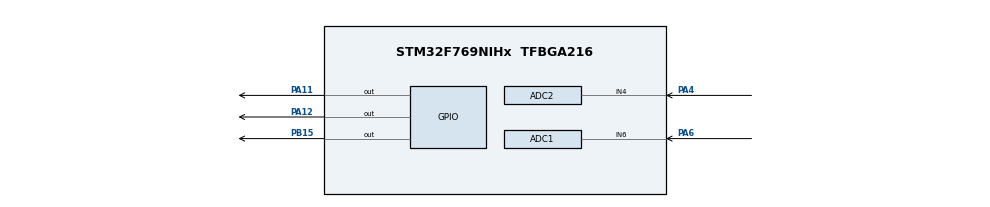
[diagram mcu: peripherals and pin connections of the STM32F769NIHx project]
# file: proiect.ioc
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ADC1.Channel-0\#ChannelRegularConversion=ADC_CHANNEL_6
ADC1.NbrOfConversionFlag=1
ADC1.Rank-0\#ChannelRegularConversion=1
ADC1.SamplingTime-0\#ChannelRegularConversion=ADC_SAMPLETIME_3CYCLES
ADC1.master=1
ADC2.Channel-0\#ChannelRegularConversion=ADC_CHANNEL_4
ADC2.NbrOfConversionFlag=1
ADC2.Rank-0\#ChannelRegularConversion=1
ADC2.SamplingTime-0\#ChannelRegularConversion=ADC_SAMPLETIME_3CYCLES
Mcu.Family=STM32F7
Mcu.Name=STM32F769NIHx
Mcu.Package=TFBGA216
NVIC.ADC_IRQn=true\:0\:0\:false\:false\:true\:true\:true
NVIC.PriorityGroup=NVIC_PRIORITYGROUP_4
PA11.Signal=GPIO_Output
PA12.Signal=GPIO_Output
PA4.GPIO_PuPd=GPIO_NOPULL
PA4.Signal=ADCx_IN4
PA6.GPIO_Mode=GPIO_MODE_ANALOG
PA6.Signal=SharedAnalog_PA6
PB15.Signal=GPIO_Output
ProjectManager.HeapSize=0x200
ProjectManager.StackSize=0x400
ProjectManager.TargetToolchain=STM32CubeIDE
RCC.HSE_VALUE=25000000
RCC.HSI_VALUE=16000000
RCC.LSE_VALUE=32768
RCC.USBFreq_Value=96000000
RCC.VCOOutputFreq_Value=192000000
SH.ADCx_IN4.0=ADC2_IN4,IN4
SH.SharedAnalog_PA6.0=GPIO_Analog
SH.SharedAnalog_PA6.1=ADC1_IN6,IN6
board=custom

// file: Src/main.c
/* USER CODE BEGIN Header */
/**
  ******************************************************************************
  * @file           : main.c
  * @brief          : Main program body
  ******************************************************************************
  * @attention
  *
  * <h2><center>&copy; Copyright (c) 2019 STMicroelectronics.
  * All rights reserved.</center></h2>
  *
  * This software component is licensed by ST under BSD 3-Clause license,
  * the "License"; You may not use this file except in compliance with the
  * License. You may obtain a copy of the License at:
  *                        opensource.org/licenses/BSD-3-Clause
  *
  ******************************************************************************
  */
/* USER CODE END Header */

#include "main.h"

ADC_HandleTypeDef hadc1;
ADC_HandleTypeDef hadc2;

int matrix[8][8] = {{0,0,0,0,0,0,0,0},
		{0,0,0,0,0,0,0,0},
		{0,0,0,0,0,0,0,0},
		{0,0,0,0,0,0,0,0},
		{0,0,0,0,0,0,0,0},
		{0,0,0,0,0,0,0,0},
		{0,0,0,0,0,0,0,0},
		{0,0,0,0,0,0,0,0}};
int point[8] = {0x0000000000000001, 0x0000000000000002,
0x0000000000000004, 0x0000000000000008, 0x0000000000000010,
0x0000000000000020, 0x0000000000000040, 0x0000000000000080};
typedef struct BallPosition{
	int i;
	int j;
}position;

void SystemClock_Config(void);
static void MX_GPIO_Init(void);
static void MX_ADC1_Init(void);
static void MX_ADC2_Init(void);

void write_byte(uint8_t byte)
{
	    for(int i=0;i<8;i++)
          {
	    	 HAL_GPIO_WritePin(GPIOA, GPIO_PIN_12, 0);  // Pull the CLK LOW
	    	 HAL_GPIO_WritePin(GPIOB, GPIO_PIN_15, byte&0x80);// Write one BIT data MSB first
             byte = byte<<1;  // shift the data to the left
             HAL_GPIO_WritePin(GPIOA, GPIO_PIN_12, 1);  // Pull the CLK HIGH
           }
}

void write_max (uint8_t address, uint8_t data)
{
	HAL_GPIO_WritePin(GPIOA, GPIO_PIN_11, 0);   // Pull the CS pin LOW
    write_byte(address);   //  write address
    write_byte(data);  //  write data
    HAL_GPIO_WritePin(GPIOA, GPIO_PIN_11, 1);  // pull the CS HIGH
}

void clearMatrix ()
{
  	for(int i=2;i<8;i++)
  	 {
  	   write_max (i,0x00);
  	 }
}

void max_init(void)
{
 write_max(0x09, 0x00);       //  no decoding
 write_max(0x0a, 0x03);       //  brightness intensity
 write_max(0x0b, 0x07);       //  scan limit = 8 LEDs
 write_max(0x0c, 0x01);       //  power down =0，normal mode = 1
 write_max(0x0f, 0x00);       //  no test display
}

void init_matrix(){
	for(int i=0;i<8;i++){
		for(int j=0;j<8;j++){
			matrix[i][j] = 0;
		}
	}
}

void set_one_on_matrix(int line, int a, int b, int c){
	matrix[line][a]=1;
	matrix[line][b]=1;
	matrix[line][c]=1;
}

void player_bar(uint8_t g_ADCValue, uint8_t prev_value){
	  if(prev_value - g_ADCValue > 10){
		  if(g_ADCValue <= 800 ){
			  clearMatrix();
			  write_max (1,0x0000000000000007);
		  } else if(g_ADCValue > 800 && g_ADCValue <= 1500){
			  clearMatrix();
			  write_max (1,0x000000000000000e);
	      } else if(g_ADCValue > 1500 && g_ADCValue <= 2300){
	    	  clearMatrix();
	    	  write_max (1,0x000000000000001c);
	      } else if(g_ADCValue > 2300 && g_ADCValue <= 3000){
			  clearMatrix();
			  write_max (1,0x0000000000000038);
	      } else if(g_ADCValue > 3000  && g_ADCValue <= 3600){
	    	  clearMatrix();
	    	  write_max (1,0x0000000000000070);
	      } else if(g_ADCValue > 3600) {
	    	  clearMatrix();
	    	  write_max (1,0x00000000000000e0);
	      }
	  } else {
		  if(g_ADCValue <= 800 ){
			  clearMatrix();
			  write_max (1,0x0000000000000007);
		  } else if(g_ADCValue > 800 && g_ADCValue <= 1500){
			  clearMatrix();
			  write_max (1,0x000000000000000e);
	      } else if(g_ADCValue > 1500 && g_ADCValue <= 2300){
	    	  clearMatrix();
	    	  write_max (1,0x000000000000001c);
	      } else if(g_ADCValue > 2300 && g_ADCValue <= 3000){
			  clearMatrix();
			  write_max (1,0x0000000000000038);
	      } else if(g_ADCValue > 3000  && g_ADCValue <= 3600){
	    	  clearMatrix();
	    	  write_max (1,0x0000000000000070);
	      } else if(g_ADCValue > 3600) {
	    	  clearMatrix();
	    	  write_max (1,0x00000000000000e0);
	      }
	  }
}
int main(void)
{

  /* MCU Configuration--------------------------------------------------------*/

  /* Reset of all peripherals, Initializes the Flash interface and the Systick. */
  HAL_Init();

  /* Configure the system clock */
  SystemClock_Config();

  /* Initialize all configured peripherals */
  MX_GPIO_Init();
  MX_ADC1_Init();
  MX_ADC2_Init();

  /* Infinite loop */
  /* USER CODE BEGIN WHILE */
  max_init();
/*  clearMatrix();
  write_max (1,0x0000000000000007);
  write_max (1,0x000000000000000e);
  write_max (1,0x000000000000001c);
  write_max (1,0x0000000000000038);
  write_max (1,0x0000000000000070);
  write_max (1,0x00000000000000e0);*/

  position currpos;
  position lastpos;
  position aux;
  currpos.i = 3;
  currpos.j = 4;
  lastpos.i = 2;
  lastpos.j = 3;
  int neigh_i[4] = {-1,-1,1,1};
  int neigh_j[4] = {-1,1,1,-1};
  uint32_t g_ADCValue;
  uint32_t g_ADCValue_2;
  uint32_t prev_value = 0;
  uint32_t prev_value_2 = 0;
  while (1)
  {

	          HAL_ADC_Start(&hadc1);
	    	  HAL_ADC_PollForConversion(&hadc1, 100);
	    	  g_ADCValue = HAL_ADC_GetValue(&hadc1);
	    	  if(prev_value - g_ADCValue > 10){
	    		  if(g_ADCValue <= 800 ){
	    			  clearMatrix();
	    			  write_max (1,0x0000000000000007);
	    		  } else if(g_ADCValue > 800 && g_ADCValue <= 1500){
	    			  clearMatrix();
	    			  write_max (1,0x000000000000000e);
	    	      } else if(g_ADCValue > 1500 && g_ADCValue <= 2300){
	    	    	  clearMatrix();
	    	    	  write_max (1,0x000000000000001c);
	    	      } else if(g_ADCValue > 2300 && g_ADCValue <= 3000){
	    			  clearMatrix();
	    			  write_max (1,0x0000000000000038);
	    	      } else if(g_ADCValue > 3000  && g_ADCValue <= 3600){
	    	    	  clearMatrix();
	    	    	  write_max (1,0x0000000000000070);
	    	      } else if(g_ADCValue > 3600) {
	    	    	  clearMatrix();
	    	    	  write_max (1,0x00000000000000e0);
	    	      }
	    	  } else {
	    		  if(g_ADCValue <= 800 ){
	    			  clearMatrix();
	    			  write_max (1,0x0000000000000007);
	    		  } else if(g_ADCValue > 800 && g_ADCValue <= 1500){
	    			  clearMatrix();
	    			  write_max (1,0x000000000000000e);
	    	      } else if(g_ADCValue > 1500 && g_ADCValue <= 2300){
	    	    	  clearMatrix();
	    	    	  write_max (1,0x000000000000001c);
	    	      } else if(g_ADCValue > 2300 && g_ADCValue <= 3000){
	    			  clearMatrix();
	    			  write_max (1,0x0000000000000038);
	    	      } else if(g_ADCValue > 3000  && g_ADCValue <= 3600){
	    	    	  clearMatrix();
	    	    	  write_max (1,0x0000000000000070);
	    	      } else if(g_ADCValue > 3600) {
	    	    	  clearMatrix();
	    	    	  write_max (1,0x00000000000000e0);
	    	      }
	    	  }
	    	  prev_value = g_ADCValue;
	    	  HAL_Delay(100);
	          HAL_ADC_Stop(&hadc1);

	    	  HAL_ADC_Start(&hadc2);
	    	  HAL_ADC_PollForConversion(&hadc2, 100);
	    	  g_ADCValue_2 = HAL_ADC_GetValue(&hadc2);
	    	  if(prev_value_2 - g_ADCValue_2 > 10){
	    		  if(g_ADCValue_2 <= 800 ){
	    			  clearMatrix();
	    			  write_max (8,0x0000000000000007);
	    		  } else if(g_ADCValue_2 > 800 && g_ADCValue_2 <= 1500){
	    			  clearMatrix();
	    			  write_max (8,0x000000000000000e);
	    	      } else if(g_ADCValue_2 > 1500 && g_ADCValue_2 <= 2300){
	    	    	  clearMatrix();
	    	    	  write_max (8,0x000000000000001c);
	    	      } else if(g_ADCValue_2 > 2300 && g_ADCValue_2 <= 3000){
	    			  clearMatrix();
	    			  write_max (8,0x0000000000000038);
	    	      } else if(g_ADCValue_2 > 3000  && g_ADCValue_2 <= 3600){
	    	    	  clearMatrix();
	    	    	  write_max (8,0x0000000000000070);
	    	      } else if(g_ADCValue_2 > 3600) {
	    	    	  clearMatrix();
	    	    	  write_max (8,0x00000000000000e0);
	    	      }
	    	  } else {
	    		  if(g_ADCValue_2 <= 800 ){
	    			  clearMatrix();
	    			  write_max (8,0x0000000000000007);
	    		  } else if(g_ADCValue_2 > 800 && g_ADCValue_2 <= 1500){
	    			  clearMatrix();
	    			  write_max (8,0x000000000000000e);
	    	      } else if(g_ADCValue_2 > 1500 && g_ADCValue_2 <= 2300){
	    	    	  clearMatrix();
	    	    	  write_max (8,0x000000000000001c);
	    	      } else if(g_ADCValue_2 > 2300 && g_ADCValue_2 <= 3000){
	    			  clearMatrix();
	    			  write_max (8,0x0000000000000038);
	    	      } else if(g_ADCValue_2 > 3000  && g_ADCValue_2 <= 3600){
	    	    	  clearMatrix();
	    	    	  write_max (8,0x0000000000000070);
	    	      } else if(g_ADCValue_2 > 3600) {
	    	    	  clearMatrix();
	    	    	  write_max (8,0x00000000000000e0);
	    	      }
	    	  }
	    	  prev_value_2 = g_ADCValue_2;
	    	  HAL_Delay(100);
	          HAL_ADC_Stop(&hadc2);
	          /*
	           */
	  for(int x=1; x<9;x++){
		  for(int y=1;y<9;y++){
			  if(x==currpos.i && y==currpos.j){
				  for(int k=0;k<4;k++){
					  if((y==1 || y==8) && currpos.i - lastpos.i == 1 && currpos.i+neigh_i[k] == lastpos.i && currpos.j+neigh_j[k]==lastpos.j){
						  aux = currpos;
						  currpos.i = lastpos.i+2;
						  currpos.j = lastpos.j;
						  lastpos = aux;
						  clearMatrix();
						  write_max(currpos.i,point[currpos.j-1]);
						  HAL_Delay(200);
						  break;
					  } else if((x==1 || x==8) && currpos.j - lastpos.j == 1 && currpos.i+neigh_i[k] == lastpos.i && currpos.j+neigh_j[k]==lastpos.j){
						  aux = currpos;
						  currpos.i = lastpos.i;
						  currpos.j = lastpos.j+2;
						  lastpos = aux;
						  clearMatrix();
						  write_max(currpos.i,point[currpos.j-1]);
						  HAL_Delay(200);
						  break;
					  } else if((y==1 || y==8) && currpos.i+neigh_i[k] == lastpos.i && currpos.j+neigh_j[k]==lastpos.j){
						  aux = currpos;
						  currpos.i = lastpos.i-2;
						  currpos.j = lastpos.j;
						  lastpos = aux;
						  clearMatrix();
						  write_max(currpos.i,point[currpos.j-1]);
						  HAL_Delay(200);
						  break;
					  } else if((x==1 || x==8) && currpos.i+neigh_i[k] == lastpos.i && currpos.j+neigh_j[k]==lastpos.j){
						  aux = currpos;
						  currpos.i = lastpos.i;
						  currpos.j = lastpos.j-2;
						  lastpos = aux;
						  clearMatrix();
						  write_max(currpos.i,point[currpos.j-1]);
						  HAL_Delay(200);
						  break;
					  } else if(currpos.i+neigh_i[k] == lastpos.i && currpos.j+neigh_j[k]==lastpos.j){
						  lastpos = currpos;
						  currpos.i -= neigh_i[k];
						  currpos.j -= neigh_j[k];
						  clearMatrix();
						  write_max(currpos.i,point[currpos.j-1]);
						  HAL_Delay(200);
						  break;
					  }
				  }
			  }

	  }
  }

    /* USER CODE END WHILE */

  }
}

void SystemClock_Config(void)
{
  RCC_OscInitTypeDef RCC_OscInitStruct = {0};
  RCC_ClkInitTypeDef RCC_ClkInitStruct = {0};

  /** Configure the main internal regulator output voltage
  */
  __HAL_RCC_PWR_CLK_ENABLE();
  __HAL_PWR_VOLTAGESCALING_CONFIG(PWR_REGULATOR_VOLTAGE_SCALE3);
  /** Initializes the CPU, AHB and APB busses clocks
  */
  RCC_OscInitStruct.OscillatorType = RCC_OSCILLATORTYPE_HSI;
  RCC_OscInitStruct.HSIState = RCC_HSI_ON;
  RCC_OscInitStruct.HSICalibrationValue = RCC_HSICALIBRATION_DEFAULT;
  RCC_OscInitStruct.PLL.PLLState = RCC_PLL_NONE;
  if (HAL_RCC_OscConfig(&RCC_OscInitStruct) != HAL_OK)
  {
    Error_Handler();
  }
  /** Initializes the CPU, AHB and APB busses clocks
  */
  RCC_ClkInitStruct.ClockType = RCC_CLOCKTYPE_HCLK|RCC_CLOCKTYPE_SYSCLK
                              |RCC_CLOCKTYPE_PCLK1|RCC_CLOCKTYPE_PCLK2;
  RCC_ClkInitStruct.SYSCLKSource = RCC_SYSCLKSOURCE_HSI;
  RCC_ClkInitStruct.AHBCLKDivider = RCC_SYSCLK_DIV1;
  RCC_ClkInitStruct.APB1CLKDivider = RCC_HCLK_DIV1;
  RCC_ClkInitStruct.APB2CLKDivider = RCC_HCLK_DIV1;

  if (HAL_RCC_ClockConfig(&RCC_ClkInitStruct, FLASH_LATENCY_0) != HAL_OK)
  {
    Error_Handler();
  }
}

static void MX_ADC1_Init(void)
{

  ADC_ChannelConfTypeDef sConfig = {0};

  /** Configure the global features of the ADC (Clock, Resolution, Data Alignment and number of conversion)
  */
  hadc1.Instance = ADC1;
  hadc1.Init.ClockPrescaler = ADC_CLOCK_SYNC_PCLK_DIV2;
  hadc1.Init.Resolution = ADC_RESOLUTION_12B;
  hadc1.Init.ScanConvMode = DISABLE;
  hadc1.Init.ContinuousConvMode = DISABLE;
  hadc1.Init.DiscontinuousConvMode = DISABLE;
  hadc1.Init.ExternalTrigConvEdge = ADC_EXTERNALTRIGCONVEDGE_NONE;
  hadc1.Init.ExternalTrigConv = ADC_SOFTWARE_START;
  hadc1.Init.DataAlign = ADC_DATAALIGN_RIGHT;
  hadc1.Init.NbrOfConversion = 1;
  hadc1.Init.DMAContinuousRequests = DISABLE;
  hadc1.Init.EOCSelection = ADC_EOC_SINGLE_CONV;
  if (HAL_ADC_Init(&hadc1) != HAL_OK)
  {
    Error_Handler();
  }
  /** Configure for the selected ADC regular channel its corresponding rank in the sequencer and its sample time.
  */
  sConfig.Channel = ADC_CHANNEL_6;
  sConfig.Rank = ADC_REGULAR_RANK_1;
  sConfig.SamplingTime = ADC_SAMPLETIME_3CYCLES;
  if (HAL_ADC_ConfigChannel(&hadc1, &sConfig) != HAL_OK)
  {
    Error_Handler();
  }

}

static void MX_ADC2_Init(void)
{

  ADC_ChannelConfTypeDef sConfig = {0};

  /** Configure the global features of the ADC (Clock, Resolution, Data Alignment and number of conversion)
  */
  hadc2.Instance = ADC2;
  hadc2.Init.ClockPrescaler = ADC_CLOCK_SYNC_PCLK_DIV2;
  hadc2.Init.Resolution = ADC_RESOLUTION_12B;
  hadc2.Init.ScanConvMode = DISABLE;
  hadc2.Init.ContinuousConvMode = DISABLE;
  hadc2.Init.DiscontinuousConvMode = DISABLE;
  hadc2.Init.ExternalTrigConvEdge = ADC_EXTERNALTRIGCONVEDGE_NONE;
  hadc2.Init.ExternalTrigConv = ADC_SOFTWARE_START;
  hadc2.Init.DataAlign = ADC_DATAALIGN_RIGHT;
  hadc2.Init.NbrOfConversion = 1;
  hadc2.Init.DMAContinuousRequests = DISABLE;
  hadc2.Init.EOCSelection = ADC_EOC_SINGLE_CONV;
  if (HAL_ADC_Init(&hadc2) != HAL_OK)
  {
    Error_Handler();
  }
  /** Configure for the selected ADC regular channel its corresponding rank in the sequencer and its sample time.
  */
  sConfig.Channel = ADC_CHANNEL_4;
  sConfig.Rank = ADC_REGULAR_RANK_1;
  sConfig.SamplingTime = ADC_SAMPLETIME_3CYCLES;
  if (HAL_ADC_ConfigChannel(&hadc2, &sConfig) != HAL_OK)
  {
    Error_Handler();
  }

}

static void MX_GPIO_Init(void)
{
  GPIO_InitTypeDef GPIO_InitStruct = {0};

  /* GPIO Ports Clock Enable */
  __HAL_RCC_GPIOA_CLK_ENABLE();
  __HAL_RCC_GPIOB_CLK_ENABLE();

  /*Configure GPIO pin Output Level */
  HAL_GPIO_WritePin(GPIOA, GPIO_PIN_12|GPIO_PIN_11, GPIO_PIN_RESET);

  /*Configure GPIO pin Output Level */
  HAL_GPIO_WritePin(GPIOB, GPIO_PIN_15, GPIO_PIN_RESET);

  /*Configure GPIO pins : PA12 PA11 */
  GPIO_InitStruct.Pin = GPIO_PIN_12|GPIO_PIN_11;
  GPIO_InitStruct.Mode = GPIO_MODE_OUTPUT_PP;
  GPIO_InitStruct.Pull = GPIO_NOPULL;
  GPIO_InitStruct.Speed = GPIO_SPEED_FREQ_LOW;
  HAL_GPIO_Init(GPIOA, &GPIO_InitStruct);

  /*Configure GPIO pin : PA6 */
  GPIO_InitStruct.Pin = GPIO_PIN_6;
  GPIO_InitStruct.Mode = GPIO_MODE_ANALOG;
  GPIO_InitStruct.Pull = GPIO_NOPULL;
  HAL_GPIO_Init(GPIOA, &GPIO_InitStruct);

  /*Configure GPIO pin : PB15 */
  GPIO_InitStruct.Pin = GPIO_PIN_15;
  GPIO_InitStruct.Mode = GPIO_MODE_OUTPUT_PP;
  GPIO_InitStruct.Pull = GPIO_NOPULL;
  GPIO_InitStruct.Speed = GPIO_SPEED_FREQ_LOW;
  HAL_GPIO_Init(GPIOB, &GPIO_InitStruct);

}

void Error_Handler(void)
{
}

/************************ (C) COPYRIGHT STMicroelectronics *****END OF FILE****/
